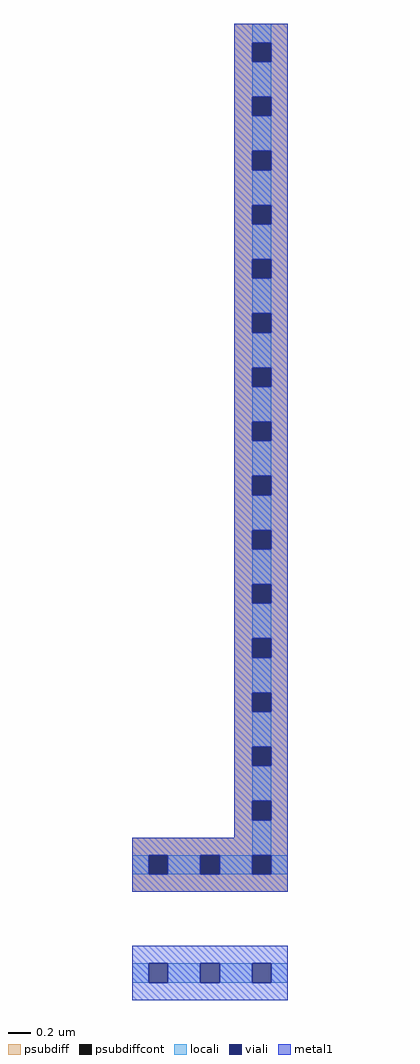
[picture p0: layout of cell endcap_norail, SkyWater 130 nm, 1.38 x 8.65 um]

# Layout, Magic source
magic
tech sky130A
magscale 1 2
<< psubdiff >>
rect 160 1614 255 1647
rect 160 1580 192 1614
rect 226 1580 255 1614
rect 160 1518 255 1580
rect 160 1484 192 1518
rect 226 1484 255 1518
rect 160 1422 255 1484
rect 160 1388 192 1422
rect 226 1388 255 1422
rect 160 1326 255 1388
rect 160 1292 192 1326
rect 226 1292 255 1326
rect 160 1230 255 1292
rect 160 1196 192 1230
rect 226 1196 255 1230
rect 160 1134 255 1196
rect 160 1100 192 1134
rect 226 1100 255 1134
rect 160 1038 255 1100
rect 160 1004 192 1038
rect 226 1004 255 1038
rect 160 942 255 1004
rect 160 908 192 942
rect 226 908 255 942
rect 160 846 255 908
rect 160 812 192 846
rect 226 812 255 846
rect 160 750 255 812
rect 160 716 192 750
rect 226 716 255 750
rect 160 654 255 716
rect 160 620 192 654
rect 226 620 255 654
rect 160 558 255 620
rect 160 524 192 558
rect 226 524 255 558
rect 160 462 255 524
rect 160 428 192 462
rect 226 428 255 462
rect 160 366 255 428
rect 160 332 192 366
rect 226 332 255 366
rect 160 270 255 332
rect 160 236 192 270
rect 226 236 255 270
rect 160 205 255 236
rect -21 174 255 205
rect -21 140 8 174
rect 42 140 100 174
rect 134 140 192 174
rect 226 140 255 174
rect -21 109 255 140
<< psubdiffcont >>
rect 192 1580 226 1614
rect 192 1484 226 1518
rect 192 1388 226 1422
rect 192 1292 226 1326
rect 192 1196 226 1230
rect 192 1100 226 1134
rect 192 1004 226 1038
rect 192 908 226 942
rect 192 812 226 846
rect 192 716 226 750
rect 192 620 226 654
rect 192 524 226 558
rect 192 428 226 462
rect 192 332 226 366
rect 192 236 226 270
rect 8 140 42 174
rect 100 140 134 174
rect 192 140 226 174
<< locali >>
rect 192 1614 226 1647
rect 192 1518 226 1580
rect 192 1422 226 1484
rect 192 1326 226 1388
rect 192 1230 226 1292
rect 192 1134 226 1196
rect 192 1038 226 1100
rect 192 942 226 1004
rect 192 846 226 908
rect 192 750 226 812
rect 192 654 226 716
rect 192 558 226 620
rect 192 462 226 524
rect 192 366 226 428
rect 192 270 226 332
rect 192 174 226 236
rect -21 140 8 174
rect 42 140 100 174
rect 134 140 192 174
rect 226 140 255 174
rect -21 -52 8 -18
rect 42 -52 100 -18
rect 134 -52 192 -18
rect 226 -52 255 -18
<< viali >>
rect 192 1580 226 1614
rect 192 1484 226 1518
rect 192 1388 226 1422
rect 192 1292 226 1326
rect 192 1196 226 1230
rect 192 1100 226 1134
rect 192 1004 226 1038
rect 192 908 226 942
rect 192 812 226 846
rect 192 716 226 750
rect 192 620 226 654
rect 192 524 226 558
rect 192 428 226 462
rect 192 332 226 366
rect 192 236 226 270
rect 8 140 42 174
rect 100 140 134 174
rect 192 140 226 174
rect 8 -52 42 -18
rect 100 -52 134 -18
rect 192 -52 226 -18
<< metal1 >>
rect 160 1614 255 1647
rect 160 1580 192 1614
rect 226 1580 255 1614
rect 160 1518 255 1580
rect 160 1484 192 1518
rect 226 1484 255 1518
rect 160 1422 255 1484
rect 160 1388 192 1422
rect 226 1388 255 1422
rect 160 1326 255 1388
rect 160 1292 192 1326
rect 226 1292 255 1326
rect 160 1230 255 1292
rect 160 1196 192 1230
rect 226 1196 255 1230
rect 160 1134 255 1196
rect 160 1100 192 1134
rect 226 1100 255 1134
rect 160 1038 255 1100
rect 160 1004 192 1038
rect 226 1004 255 1038
rect 160 942 255 1004
rect 160 908 192 942
rect 226 908 255 942
rect 160 846 255 908
rect 160 812 192 846
rect 226 812 255 846
rect 160 750 255 812
rect 160 716 192 750
rect 226 716 255 750
rect 160 654 255 716
rect 160 620 192 654
rect 226 620 255 654
rect 160 558 255 620
rect 160 524 192 558
rect 226 524 255 558
rect 160 462 255 524
rect 160 428 192 462
rect 226 428 255 462
rect 160 366 255 428
rect 160 332 192 366
rect 226 332 255 366
rect 160 270 255 332
rect 160 236 192 270
rect 226 236 255 270
rect 160 205 255 236
rect -21 174 255 205
rect -21 140 8 174
rect 42 140 100 174
rect 134 140 192 174
rect 226 140 255 174
rect -21 109 255 140
rect -21 -18 255 13
rect -21 -52 8 -18
rect 42 -52 100 -18
rect 134 -52 192 -18
rect 226 -52 255 -18
rect -21 -83 255 -52
<< end >>
